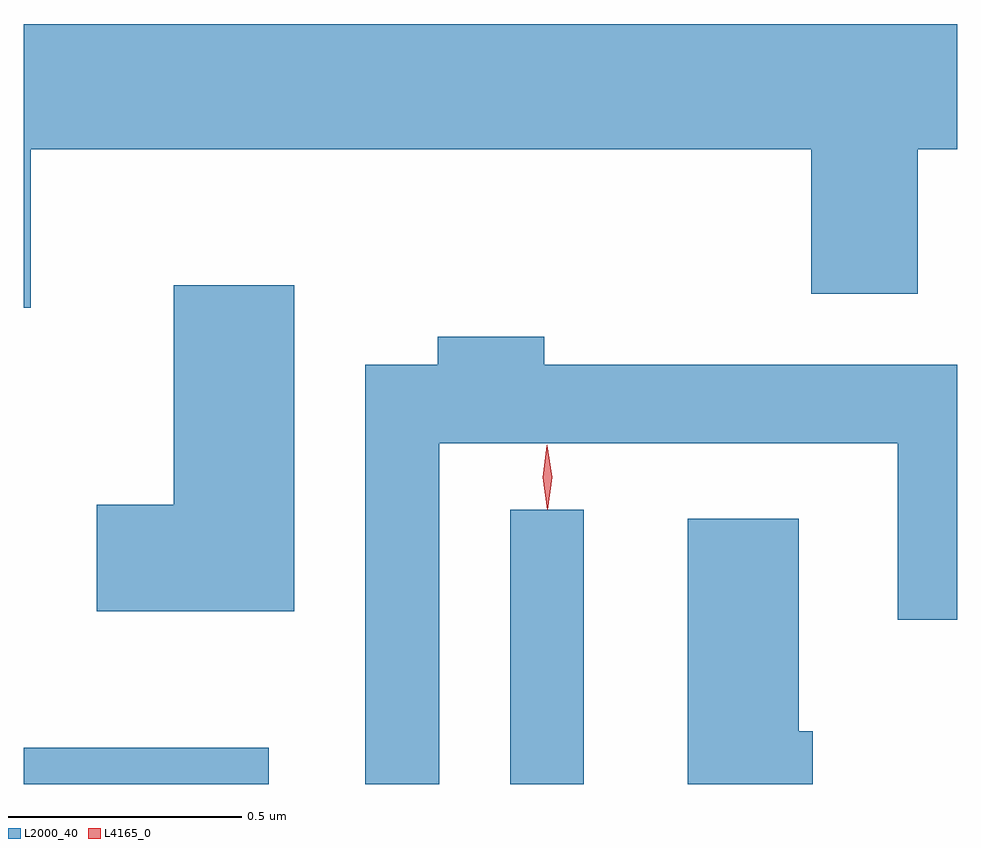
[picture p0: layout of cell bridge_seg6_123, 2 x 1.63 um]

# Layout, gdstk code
import gdstk
lib = gdstk.Library(unit=1e-6, precision=1e-09)
def R(c, l, rs):  # rectangles x0, y0, x1, y1
    for r in rs: c.add(gdstk.rectangle(r[:2], r[2:], *l))
def P(c, l, *ps):  # polygons
    for p in ps: c.add(gdstk.Polygon(p, *l))
L2000_40 = (2000, 40)
L4165_0 = (4165, 0)

bridge_seg6_123 = lib.new_cell('bridge_seg6_123')
R(bridge_seg6_123, L2000_40, [(1200.624,1604.176,1201.149,1604.254), (1201.666,1604.176,1201.824,1604.763)])
P(bridge_seg6_123, L2000_40, [(1200.639,1605.536),(1202.311,1605.536),(1202.311,1605.226),(1202.539,1605.226),(1202.539,1605.536),(1202.624,1605.536),(1202.624,1605.804),(1200.624,1605.804),(1200.624,1605.196),(1200.639,1605.196)],
  [(1201.204,1605.244),(1200.946,1605.244),(1200.946,1604.774),(1200.781,1604.774),(1200.781,1604.546),(1201.204,1604.546)],
  [(1201.514,1604.906),(1202.496,1604.906),(1202.496,1604.528),(1202.624,1604.528),(1202.624,1605.074),(1201.739,1605.074),(1201.739,1605.134),(1201.511,1605.134),(1201.511,1605.074),(1201.356,1605.074),(1201.356,1604.176),(1201.514,1604.176)],
  [(1202.314,1604.289),(1202.284,1604.289),(1202.284,1604.744),(1202.046,1604.744),(1202.046,1604.176),(1202.314,1604.176)])
P(bridge_seg6_123, L4165_0, [(1201.746,1604.764),(1201.746,1604.764),(1201.736,1604.833),(1201.745,1604.902),(1201.746,1604.903),(1201.746,1604.902),(1201.756,1604.833),(1201.747,1604.764)])

lib.write_gds('bridge_seg6_123.gds')
